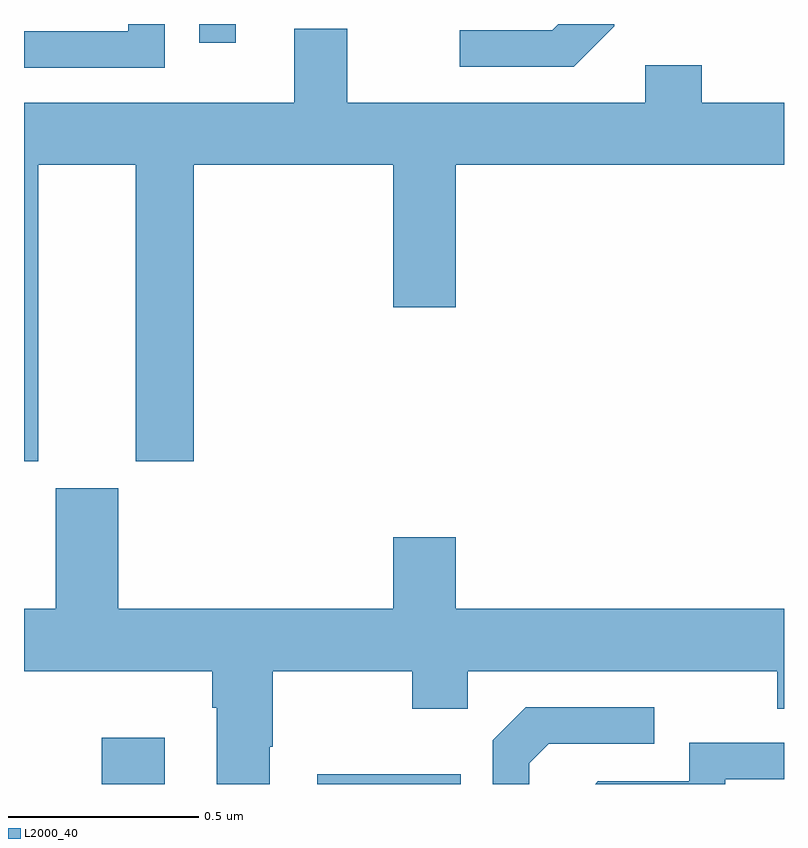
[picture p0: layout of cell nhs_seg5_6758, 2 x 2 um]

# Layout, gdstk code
import gdstk
lib = gdstk.Library(unit=1e-6, precision=1e-09)
def R(c, l, rs):  # rectangles x0, y0, x1, y1
    for r in rs: c.add(gdstk.rectangle(r[:2], r[2:], *l))
def P(c, l, *ps):  # polygons
    for p in ps: c.add(gdstk.Polygon(p, *l))
L2000_40 = (2000, 40)

nhs_seg5_6758 = lib.new_cell('nhs_seg5_6758')
R(nhs_seg5_6758, L2000_40, [(200.204,853.799,200.371,853.921), (200.772,853.799,201.149,853.825), (200.461,855.75,200.557,855.799)])
P(nhs_seg5_6758, L2000_40, [(201.553,855.793),(201.553,855.799),(201.406,855.799),(201.39,855.783),(201.147,855.783),(201.147,855.687),(201.447,855.687)],
  [(200.37,855.799),(200.274,855.799),(200.274,855.78),(200,855.78),(200,855.684),(200.37,855.684)],
  [(200.038,855.428),(200.294,855.428),(200.294,854.649),(200.447,854.649),(200.447,855.428),(200.972,855.428),(200.972,855.054),(201.136,855.054),(201.136,855.428),(202,855.428),(202,855.592),(201.783,855.592),(201.783,855.691),(201.635,855.691),(201.635,855.592),(200.851,855.592),(200.851,855.787),(200.711,855.787),(200.711,855.592),(200,855.592),(200,854.649),(200.038,854.649)],
  [(200.647,853.897),(200.655,853.897),(200.655,854.096),(201.022,854.096),(201.022,853.997),(201.168,853.997),(201.168,854.096),(201.982,854.096),(201.982,853.997),(202,853.997),(202,854.26),(201.136,854.26),(201.136,854.449),(200.972,854.449),(200.972,854.26),(200.248,854.26),(200.248,854.577),(200.084,854.577),(200.084,854.26),(200,854.26),(200,854.096),(200.495,854.096),(200.495,854),(200.507,854),(200.507,853.799),(200.647,853.799)],
  [(201.33,853.854),(201.381,853.905),(201.658,853.905),(201.658,854.001),(201.321,854.001),(201.234,853.914),(201.234,853.799),(201.33,853.799)],
  [(201.846,853.812),(202,853.812),(202,853.908),(201.75,853.908),(201.75,853.806),(201.51,853.806),(201.503,853.799),(201.846,853.799)])

lib.write_gds('nhs_seg5_6758.gds')
